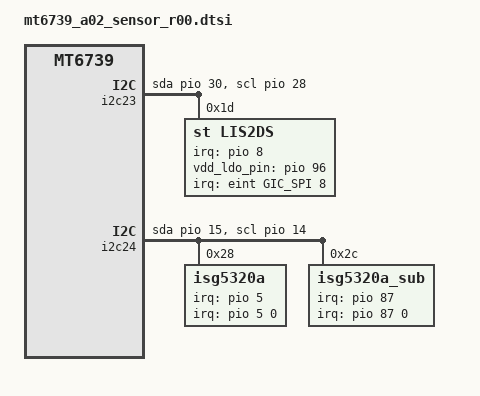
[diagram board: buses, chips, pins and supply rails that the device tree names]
/* Copyright (c) 2019, The Linux Foundation. All rights reserved.
 *
 * This program is free software; you can redistribute it and/or modify
 * it under the terms of the GNU General Public License version 2 and
 * only version 2 as published by the Free Software Foundation.
 *
 * This program is distributed in the hope that it will be useful,
 * but WITHOUT ANY WARRANTY; without even the implied warranty of
 * MERCHANTABILITY or FITNESS FOR A PARTICULAR PURPOSE.  See the
 * GNU General Public License for more details.
 */

/* Sensor I2C Configuration */

/ {
	fragment@model {
		target-path = "/";
		__overlay__ {
			aliases {
				i2c23 = "/i2c@23";
				i2c24 = "/i2c@24";
			};
		
			i2c23: i2c@23 {
				cell-index = <23>;
				status = "okay";
				compatible = "i2c-gpio";
				gpios = <&pio 30 0 /* sda */
					&pio 28 0>; /* scl */
				i2c-gpio,delay-us = <2>;
				#address-cells = <1>;
				#size-cells = <0>;
				pinctrl-names = "default";
				pinctrl-0 = <&sensor_ldo_1p8_en &sensor_i2c>;

				lis2ds@1D {
					compatible = "st,lis2ds";
					reg = <0x1D>;
					pinctrl-names = "default";
					pinctrl-0 = <&acc_int>;
					interrupt-parent = <&eint>;
					interrupts = <GIC_SPI 8 IRQ_TYPE_EDGE_RISING>;
					st,irq_gpio = <&pio 8 0>;
					st,orientation = <2 1 1 1 0 1 1 1 2>;
					st,vdd_ldo_pin = <&pio 96 0>;
				};
			};

			i2c24: i2c@24 {
				cell-index = <24>;
				status = "okay";
				compatible = "i2c-gpio";
				gpios = <&pio 15 0 /* sda */
					&pio 14 0>; /* scl */
				i2c-gpio,delay-us = <2>;
				#address-cells = <1>;
				#size-cells = <0>;
				pinctrl-names = "default";
				pinctrl-0 = <&grip_ldo_1p8_en &grip_i2c>;

				isg5320a@28 {
					compatible = "isg5320a";
					reg = <0x28>;
					pinctrl-names = "default";
					pinctrl-0 = <&grip_int>;
					interrupt-parent = <&pio>;
					interrupts = <5 0 0>;
					isg5320a,irq-gpio = <&pio 5 0>;
					isg5320a,hallic_detect = <0>;
					isg5320a,hallic_cert_detect = <0>;
				};

				isg5320a_sub@2C {
					compatible = "isg5320a_sub";
					reg = <0x2C>;
					pinctrl-names = "default";
					pinctrl-0 = <&grip_sub_int>;
					interrupt-parent = <&pio>;
					interrupts = <87 0 0>;
					isg5320a_sub,irq-gpio = <&pio 87 0>;
					isg5320a_sub,hallic_detect = <0>;
					isg5320a_sub,hallic_cert_detect = <0>;
				};
			};
		};
	};
};

&pio {
	sensor_ldo_1p8_en: sensor_ldo_1p8_en {
		pins_cmd_dat {
			pinmux = <PINMUX_GPIO96__FUNC_GPIO96>;
			slew-rate = <1>;
			output-high;
		};
	};

	sensor_i2c: sensor_i2c {
		pins_cmd1_dat {
			pinmux = <PINMUX_GPIO30__FUNC_GPIO30>;
			slew-rate = <0>;
			bias-disable;
		};

		pins_cmd0_dat {
			pinmux = <PINMUX_GPIO28__FUNC_GPIO28>;
			slew-rate = <0>;
			bias-disable;
		};
	};

	acc_int: acc_int {
		pins_cmd_dat {
			pinmux = <PINMUX_GPIO8__FUNC_GPIO8>;
			slew-rate = <0>;
			bias-disable;
		};
	};

	grip_ldo_1p8_en: grip_ldo_1p8_en {
		pins_cmd_dat {
			pinmux = <PINMUX_GPIO92__FUNC_GPIO92>;
			slew-rate = <1>;
			output-high;
		};
	};

	grip_i2c: grip_i2c {
		pins_cmd1_dat {
			pinmux = <PINMUX_GPIO15__FUNC_GPIO15>;
			slew-rate = <0>;
			bias-disable;
		};

		pins_cmd0_dat {
			pinmux = <PINMUX_GPIO14__FUNC_GPIO14>;
			slew-rate = <0>;
			bias-disable;
		};
	};

	grip_int: grip_int {
		pins_cmd_dat {
			pinmux = <PINMUX_GPIO5__FUNC_GPIO5>;
			slew-rate = <0>;
			bias-disable;
		};
	};

	grip_sub_int: grip_sub_int {
		pins_cmd_dat {
			pinmux = <PINMUX_GPIO87__FUNC_GPIO87>;
			slew-rate = <0>;
			bias-disable;
		};
	};
};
